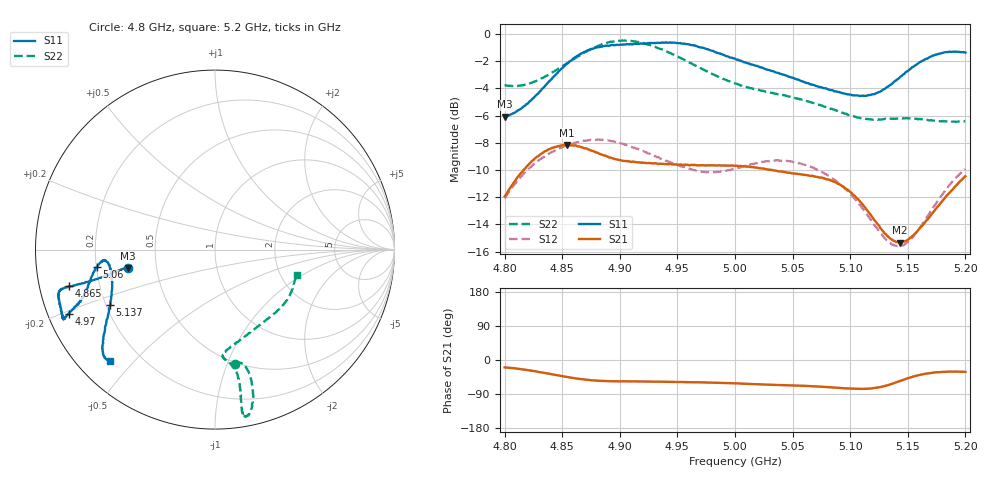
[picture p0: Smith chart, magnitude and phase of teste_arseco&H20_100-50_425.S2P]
! Network Analyzer HP8722D
! Hewlett-Packard
! Data name: Linha & Wilkinson
! Saver's name: Rodrigo Anjos
! Comments: Teste da utilização de aquisição
! continua pelo VNA HP8722D
! Time and date: 6/5/2025 16:06
!  Frequency  S11  S21  S12  S22
# HZ  S  MA R 50
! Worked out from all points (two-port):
!   401 points, 4.8 GHz to 5.2 GHz, reference 50 ohm
!   highest |S21| = -8.17 dB at 4.854 GHz (marker M1); lowest = -15.3 dB at 5.143 GHz (marker M2)
!   |S21| within 3 dB of the highest: 4.806 GHz to 5.093 GHz (286.7 MHz wide, 5.79 % of centre); 5.191694 GHz to end of sweep
!   lowest |S11| = -6.1 dB at 4.8 GHz (marker M3), VSWR 2.97, Z = 17 - j4.65 ohm
!   |S11| at or under -10 dB: nowhere
!   |S22| runs from -6.5 to -0.5 dB; largest |S21 - S12| = 0.62
!   S11 on the Smith chart (normalised r, x): 4.8 GHz: 0.34, -0.09; 4.865 GHz: 0.09, -0.12; 4.97 GHz: 0.06, -0.21; 5.06 GHz: 0.20, -0.07; 5.137 GHz: 0.22, -0.24; 5.2 GHz: 0.09, -0.43
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4.8e9  0.4959 -168.0  0.2524 -19.5  0.2487 -140.8  0.6477 -80.3
4.826e9  0.5873 -167.2  0.3477 -29.6  0.3332 -144.3  0.668 -75.6
4.854e9  0.7755 -165.7  0.3906 -44.9  0.389 -149.7  0.7793 -74.6
4.865e9  0.84 -165.9  0.3856 -49.8  0.4014 -151.6  0.8317 -75.3
4.867e9  0.8499 -165.8  0.3831 -50.7  0.4032 -151.9  0.8439 -75.4
4.881e9  0.8941 -165.2  0.3654 -54.5  0.4089 -154.3  0.904 -76.9
4.901e9  0.9138 -162.4  0.3434 -56.2  0.396 -156.6  0.944 -79.2
4.934e9  0.9281 -156.3  0.3326 -57.3  0.3514 -155.6  0.884 -80.4
4.97e9  0.8915 -156.2  0.3294 -59.0  0.3129 -146.8  0.7485 -79.6
5e9  0.811 -158.8  0.3277 -61.7  0.3198 -137.1  0.6578 -81.3
5.04e9  0.7128 -166.5  0.3127 -66.0  0.342 -134.4  0.5967 -85.8
5.06e9  0.6656 -171.6  0.3031 -68.0  0.3309 -136.1  0.5703 -84.2
5.067e9  0.6506 -172.9  0.3013 -69.0  0.3234 -136.7  0.559 -82.6
5.083e9  0.6214 -174.4  0.2891 -72.2  0.2977 -138.2  0.5305 -76.9
5.101e9  0.5976 -171.9  0.2607 -75.6  0.2558 -138.7  0.501 -66.6
5.116e9  0.5956 -165.4  0.2213 -75.9  0.2128 -135.5  0.4862 -55.7
5.134e9  0.6461 -154.1  0.1781 -65.3  0.1709 -120.6  0.4869 -43.2
5.137e9  0.6602 -152.3  0.1744 -62.2  0.168 -116.8  0.4888 -41.5
5.143e9  0.6919 -149.0  0.1711 -55.8  0.1659 -108.9  0.489 -38.1
5.154e9  0.7556 -144.2  0.1807 -44.3  0.1783 -94.9  0.4891 -32.3
5.174e9  0.8383 -138.3  0.2268 -32.6  0.2361 -80.2  0.4793 -23.9
5.2e9  0.8534 -133.4  0.2998 -31.2  0.3191 -76.9  0.4777 -17.5
